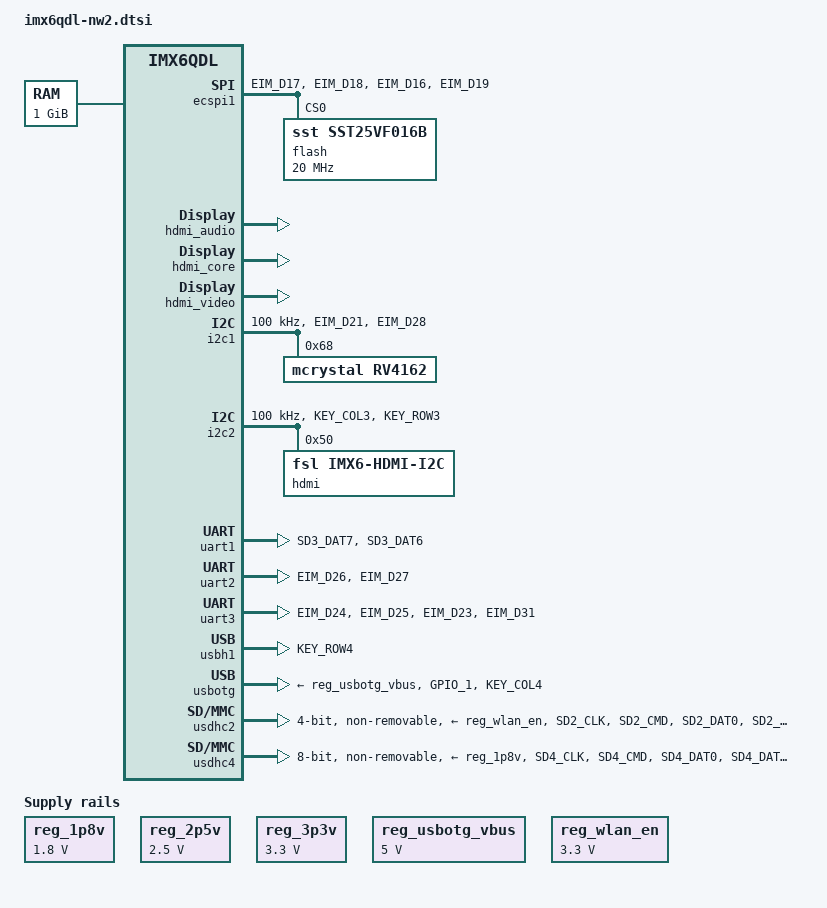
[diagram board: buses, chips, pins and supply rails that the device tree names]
/*
 * Copyright 2015 Boundary Devices, Inc.
 * Copyright 2012 Freescale Semiconductor, Inc.
 * Copyright 2011 Linaro Ltd.
 *
 * The code contained herein is licensed under the GNU General Public
 * License. You may obtain a copy of the GNU General Public License
 * Version 2 or later at the following locations:
 *
 * http://www.opensource.org/licenses/gpl-license.html
 * http://www.gnu.org/copyleft/gpl.html
 */
#include <dt-bindings/gpio/gpio.h>
#include <dt-bindings/input/input.h>

&iomuxc {
	pinctrl-names = "default";
	pinctrl-0 = <&pinctrl_hog>;

	iomuxc_imx6q_nitrogen6_max: iomuxc-imx6q-nitrogen6-maxgrp {
		status = "okay";
	};
};

&iomuxc_imx6q_nitrogen6_max {

	pinctrl_bt_rfkill: bt-rfkillgrp {
		fsl,pins = <
#define GP_BT_RFKILL_RESET	<&gpio6 8 GPIO_ACTIVE_LOW>
			MX6QDL_PAD_NANDF_ALE__GPIO6_IO08	0x030b0
#define GP_BT_RFKILL_SHUTDOWN	<&gpio6 15 GPIO_ACTIVE_LOW>
			MX6QDL_PAD_NANDF_CS2__GPIO6_IO15	0x030b0
		>;
	};

	pinctrl_ecspi1: ecspi1grp {
		fsl,pins = <
			MX6QDL_PAD_EIM_D17__ECSPI1_MISO		0x100b1
			MX6QDL_PAD_EIM_D18__ECSPI1_MOSI		0x100b1
			MX6QDL_PAD_EIM_D16__ECSPI1_SCLK		0x000b1
#define GP_ECSPI1_NOR_CS	<&gpio3 19 GPIO_ACTIVE_LOW>
			MX6QDL_PAD_EIM_D19__GPIO3_IO19		0x0b0b1
		>;
	};

	pinctrl_hog: hoggrp {
		fsl,pins = <
#define GPIRQ_BT	<&gpio6 16 IRQ_TYPE_LEVEL_HIGH>
			MX6QDL_PAD_NANDF_CS3__GPIO6_IO16	0x030b0
#define GP_BT_WAKE	<&gpio2 2 GPIO_ACTIVE_HIGH>
			MX6QDL_PAD_NANDF_D2__GPIO2_IO02		0x0b0b0
		>;
	};

	pinctrl_i2c1: i2c1grp {
		fsl,pins = <
			MX6QDL_PAD_EIM_D21__I2C1_SCL		0x4001b8b1
			MX6QDL_PAD_EIM_D28__I2C1_SDA		0x4001b8b1
		>;
	};

	pinctrl_i2c1_1: i2c1_1grp {
		fsl,pins = <
#define GP_I2C1_SCL	<&gpio3 21 GPIO_ACTIVE_HIGH>
			MX6QDL_PAD_EIM_D21__GPIO3_IO21		0x4001b8b1
#define GP_I2C1_SDA	<&gpio3 28 GPIO_ACTIVE_HIGH>
			MX6QDL_PAD_EIM_D28__GPIO3_IO28		0x4001b8b1
		>;
	};

	pinctrl_i2c1_rv4162: i2c1-rv4162grp {
		fsl,pins = <
#define GPIRQ_RTC_RV4162	<&gpio4 6 IRQ_TYPE_LEVEL_LOW>
			MX6QDL_PAD_KEY_COL0__GPIO4_IO06		0x1b0b0
		>;
	};

	pinctrl_i2c2: i2c2grp {
		fsl,pins = <
			MX6QDL_PAD_KEY_COL3__I2C2_SCL		0x4001b8b1
			MX6QDL_PAD_KEY_ROW3__I2C2_SDA		0x4001b8b1
		>;
	};

	pinctrl_i2c2_1: i2c2_1grp {
		fsl,pins = <
#define GP_I2C2_SCL	<&gpio4 12 GPIO_ACTIVE_HIGH>
			MX6QDL_PAD_KEY_COL3__GPIO4_IO12		0x4001b8b1
#define GP_I2C2_SDA	<&gpio4 13 GPIO_ACTIVE_HIGH>
			MX6QDL_PAD_KEY_ROW3__GPIO4_IO13		0x4001b8b1
		>;
	};

	pinctrl_reg_usbotg_vbus: reg-usbotg-vbusgrp {
		fsl,pins = <
#define GP_REG_USBOTG	<&gpio3 22 GPIO_ACTIVE_HIGH>
			MX6QDL_PAD_EIM_D22__GPIO3_IO22		0x030b0
		>;
	};

	pinctrl_reg_wlan_en: reg-wlan-engrp {
		fsl,pins = <
#define GP_REG_WLAN_EN	<&gpio6 7 GPIO_ACTIVE_HIGH>
			MX6QDL_PAD_NANDF_CLE__GPIO6_IO07	0x030b0
		>;
	};

	pinctrl_uart1: uart1grp {
		fsl,pins = <
			MX6QDL_PAD_SD3_DAT7__UART1_TX_DATA	0x1b0b1
			MX6QDL_PAD_SD3_DAT6__UART1_RX_DATA	0x1b0b1
		>;
	};

	pinctrl_uart2: uart2grp {
		fsl,pins = <
			MX6QDL_PAD_EIM_D26__UART2_TX_DATA	0x1b0b1
			MX6QDL_PAD_EIM_D27__UART2_RX_DATA	0x1b0b1
		>;
	};

	pinctrl_uart3: uart3grp {
		fsl,pins = <
			MX6QDL_PAD_EIM_D24__UART3_TX_DATA	0x1b0b1
			MX6QDL_PAD_EIM_D25__UART3_RX_DATA	0x1b0b1
			MX6QDL_PAD_EIM_D23__UART3_CTS_B		0x1b0b1
			MX6QDL_PAD_EIM_D31__UART3_RTS_B		0x1b0b1
		>;
	};

	pinctrl_usbh1: usbh1grp {
		fsl,pins = <
#define GP_USBH1_HUB_RESET	<&gpio4 15 GPIO_ACTIVE_LOW>
			MX6QDL_PAD_KEY_ROW4__GPIO4_IO15		0x030b0
		>;
	};

	pinctrl_usbotg: usbotggrp {
		fsl,pins = <
			MX6QDL_PAD_GPIO_1__USB_OTG_ID		0x17059
			MX6QDL_PAD_KEY_COL4__USB_OTG_OC		0x1b0b0
		>;
	};

	pinctrl_usdhc2: usdhc2grp {
		fsl,pins = <
			MX6QDL_PAD_SD2_CLK__SD2_CLK		0x10071
			MX6QDL_PAD_SD2_CMD__SD2_CMD		0x17071
			MX6QDL_PAD_SD2_DAT0__SD2_DATA0		0x17071
			MX6QDL_PAD_SD2_DAT1__SD2_DATA1		0x17071
			MX6QDL_PAD_SD2_DAT2__SD2_DATA2		0x17071
			MX6QDL_PAD_SD2_DAT3__SD2_DATA3		0x17071
			MX6QDL_PAD_SD1_CLK__OSC32K_32K_OUT	0x000b0		/* slow clock */
		>;
	};

	pinctrl_usdhc4: usdhc4grp {
		fsl,pins = <
			MX6QDL_PAD_SD4_CLK__SD4_CLK		0x10059
			MX6QDL_PAD_SD4_CMD__SD4_CMD		0x17059
			MX6QDL_PAD_SD4_DAT0__SD4_DATA0		0x17059
			MX6QDL_PAD_SD4_DAT1__SD4_DATA1		0x17059
			MX6QDL_PAD_SD4_DAT2__SD4_DATA2		0x17059
			MX6QDL_PAD_SD4_DAT3__SD4_DATA3		0x17059
			MX6QDL_PAD_SD4_DAT4__SD4_DATA4		0x17059
			MX6QDL_PAD_SD4_DAT5__SD4_DATA5		0x17059
			MX6QDL_PAD_SD4_DAT6__SD4_DATA6		0x17059
			MX6QDL_PAD_SD4_DAT7__SD4_DATA7		0x17059
#define GP_EMMC_RESET	<&gpio2 5 GPIO_ACTIVE_LOW>
			MX6QDL_PAD_NANDF_D5__GPIO2_IO05		0x0b0b0
		>;
	};

	pinctrl_wlan: wlangrp {
		fsl,pins = <
#define GPIRQ_WL		<&gpio6 14 IRQ_TYPE_LEVEL_HIGH>
			MX6QDL_PAD_NANDF_CS1__GPIO6_IO14	0x100b0
#define GPIRQ_WL_CLK_REQ	<&gpio6 9 IRQ_TYPE_LEVEL_HIGH>
			MX6QDL_PAD_NANDF_WP_B__GPIO6_IO09	0x100b0
		>;
	};
};

/ {
	aliases {
		fb_hdmi = &fb_hdmi;
		mmc0 = &usdhc4;
		mxcfb0 = &fb_hdmi;
	};

	bt_rfkill {
		compatible = "net,rfkill-gpio";
		pinctrl-names = "default";
		pinctrl-0 = <&pinctrl_bt_rfkill>;
		name = "bt_rfkill";
		type = <2>;	/* bluetooth */
		reset-gpios = GP_BT_RFKILL_RESET;
		shutdown-gpios = GP_BT_RFKILL_SHUTDOWN;
	};

	fb_hdmi: fb@0 {
		compatible = "fsl,mxc_sdc_fb";
		disp_dev = "hdmi";
		interface_pix_fmt = "RGB24";
		mode_str ="1280x720M@60";
		default_bpp = <32>;
		int_clk = <0>;
		late_init = <0>;
		status = "disabled";
	};

	memory {
		reg = <0x10000000 0x40000000>;
	};

	regulators {
		compatible = "simple-bus";
		#address-cells = <1>;
		#size-cells = <0>;

		reg_1p8v: regulator@0 {
			compatible = "regulator-fixed";
			reg = <0>;
			regulator-name = "1P8V";
			regulator-min-microvolt = <1800000>;
			regulator-max-microvolt = <1800000>;
			regulator-always-on;
		};

		reg_2p5v: regulator@1 {
			compatible = "regulator-fixed";
			reg = <1>;
			regulator-name = "2P5V";
			regulator-min-microvolt = <2500000>;
			regulator-max-microvolt = <2500000>;
			regulator-always-on;
		};

		reg_3p3v: regulator@2 {
			compatible = "regulator-fixed";
			reg = <2>;
			regulator-name = "3P3V";
			regulator-min-microvolt = <3300000>;
			regulator-max-microvolt = <3300000>;
			regulator-always-on;
		};

		reg_usbotg_vbus: regulator@3 {
			compatible = "regulator-fixed";
			reg = <3>;
			pinctrl-names = "default";
			pinctrl-0 = <&pinctrl_reg_usbotg_vbus>;
			regulator-name = "usb_otg_vbus";
			regulator-min-microvolt = <5000000>;
			regulator-max-microvolt = <5000000>;
			gpio = GP_REG_USBOTG;
			enable-active-high;
		};

		reg_wlan_en: regulator@4 {
			compatible = "regulator-fixed";
			reg = <4>;
			pinctrl-names = "default";
			pinctrl-0 = <&pinctrl_reg_wlan_en>;
			regulator-name = "wlan-en";
			regulator-min-microvolt = <3300000>;
			regulator-max-microvolt = <3300000>;
			gpio = GP_REG_WLAN_EN;
			startup-delay-us = <70000>;
			enable-active-high;
		};
	};

	sound-hdmi {
		compatible = "fsl,imx6q-audio-hdmi",
			     "fsl,imx-audio-hdmi";
		model = "imx-audio-hdmi";
		hdmi-controller = <&hdmi_audio>;
	};

	v4l2_out {
		compatible = "fsl,mxc_v4l2_output";
		status = "okay";
	};
};

&ecspi1 {
	pinctrl-names = "default";
	pinctrl-0 = <&pinctrl_ecspi1>;
	fsl,spi-num-chipselects = <1>;
	cs-gpios = GP_ECSPI1_NOR_CS;
	status = "okay";

	flash: m25p80@0 {
		compatible = "sst,sst25vf016b";
		spi-max-frequency = <20000000>;
		reg = <0>;
		#address-cells = <1>;
		#size-cells = <1>;
		mtd@00000000 {
			label = "U-Boot";
			reg = <0x0 0xC0000>;
		};

		mtd@000C0000 {
			label = "env";
			reg = <0xC0000 0x2000>;
		};
		mtd@000C2000 {
			label = "splash";
			reg = <0xC2000 0x13e000>;
		};
	};
};


&hdmi_audio {
	status = "okay";
};

&hdmi_core {
	ipu_id = <1>;
	disp_id = <0>;
	status = "okay";
};

&hdmi_video {
	fsl,phy_reg_vlev = <0x0294>;
	fsl,phy_reg_cksymtx = <0x800d>;
	status = "okay";
};

&i2c1 {
	clock-frequency = <100000>;
	pinctrl-names = "default", "gpio";
	pinctrl-0 = <&pinctrl_i2c1>;
	pinctrl-1 = <&pinctrl_i2c1_1>;
	scl-gpios = GP_I2C1_SCL;
	sda-gpios = GP_I2C1_SDA;
	status = "okay";

	rv4162@68 {
		compatible = "mcrystal,rv4162";
		pinctrl-names = "default";
		pinctrl-0 = <&pinctrl_i2c1_rv4162>;
		reg = <0x68>;
		interrupts-extended = GPIRQ_RTC_RV4162;
	};
};

&i2c2 {
	clock-frequency = <100000>;
	pinctrl-names = "default", "gpio";
	pinctrl-0 = <&pinctrl_i2c2>;
	pinctrl-1 = <&pinctrl_i2c2_1>;
	scl-gpios = GP_I2C2_SCL;
	sda-gpios = GP_I2C2_SDA;
	status = "okay";

	hdmi: edid@50 {
		compatible = "fsl,imx6-hdmi-i2c";
		reg = <0x50>;
	};
};

&uart1 {
	pinctrl-names = "default";
	pinctrl-0 = <&pinctrl_uart1>;
	status = "okay";
};

&uart2 {
	pinctrl-names = "default";
	pinctrl-0 = <&pinctrl_uart2>;
	status = "okay";
};

&uart3 {
	pinctrl-names = "default";
	pinctrl-0 = <&pinctrl_uart3>;
	fsl,uart-has-rtscts;
	status = "okay";
};

&usbh1 {
	pinctrl-names = "default";
	pinctrl-0 = <&pinctrl_usbh1>;
	disable-over-current;
	reset-gpios = GP_USBH1_HUB_RESET;
	status = "okay";
};

&usbotg {
	vbus-supply = <&reg_usbotg_vbus>;
	pinctrl-names = "default";
	pinctrl-0 = <&pinctrl_usbotg>;
	disable-over-current;
	status = "okay";
};

&usdhc2 {	/* uSDHC2, Wifi GB863021 */
	pinctrl-names = "default";
	pinctrl-0 = <&pinctrl_usdhc2>;
	bus-width = <4>;
	non-removable;
	vmmc-supply = <&reg_wlan_en>;
	vqmmc-1-8-v;
	cap-power-off-card;
	keep-power-in-suspend;
	status = "okay";
};

&usdhc4 {
	pinctrl-names = "default";
	pinctrl-0 = <&pinctrl_usdhc4>;
	bus-width = <8>;
	non-removable;
	vqmmc-1-8-v;
	vmmc-supply = <&reg_1p8v>;
	keep-power-in-suspend;
	status = "okay";
};
